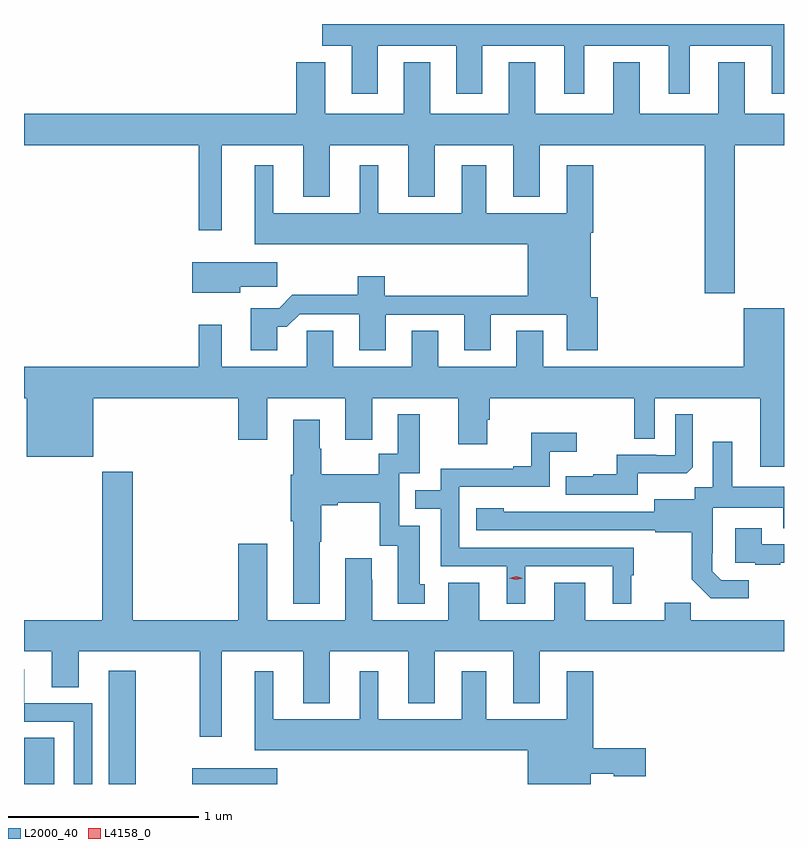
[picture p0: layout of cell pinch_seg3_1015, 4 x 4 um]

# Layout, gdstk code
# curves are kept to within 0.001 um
import gdstk
lib = gdstk.Library(unit=1e-6, precision=1e-09)
def R(c, l, rs):  # rectangles x0, y0, x1, y1
    for r in rs: c.add(gdstk.rectangle(r[:2], r[2:], *l))
def P(c, l, *ps):  # polygons
    for p in ps: c.add(gdstk.Polygon(p, *l))
L2000_40 = (2000, 40)
L4158_0 = (4158, 0)

pinch_seg3_1015 = lib.new_cell('pinch_seg3_1015')
R(pinch_seg3_1015, L2000_40, [(531.425,686.897,531.583,687.14), (531.872,686.897,532.014,687.493), (532.31,686.897,532.759,686.98)])
P(pinch_seg3_1015, L2000_40, [(533.287,690.782),(533.699,690.782),(533.699,690.531),(533.836,690.531),(533.836,690.782),(534.269,690.782),(534.269,690.531),(534.373,690.531),(534.373,690.782),(534.818,690.782),(534.818,690.531),(534.928,690.531),(534.928,690.782),(535.361,690.782),(535.361,690.531),(535.425,690.531),(535.425,690.897),(532.994,690.897),(532.994,690.782),(533.15,690.782),(533.15,690.531),(533.287,690.531)],
  [(535.167,690.26),(535.425,690.26),(535.425,690.424),(535.219,690.424),(535.219,690.697),(535.079,690.697),(535.079,690.424),(534.667,690.424),(534.667,690.697),(534.527,690.697),(534.527,690.424),(534.115,690.424),(534.115,690.697),(533.975,690.697),(533.975,690.424),(533.563,690.424),(533.563,690.697),(533.423,690.697),(533.423,690.424),(533.011,690.424),(533.011,690.697),(532.859,690.697),(532.859,690.424),(531.425,690.424),(531.425,690.26),(532.344,690.26),(532.344,689.811),(532.465,689.811),(532.465,690.26),(532.895,690.26),(532.895,689.987),(533.035,689.987),(533.035,690.26),(533.447,690.26),(533.447,689.987),(533.587,689.987),(533.587,690.26),(533.999,690.26),(533.999,689.987),(534.139,689.987),(534.139,690.26),(535.007,690.26),(535.007,689.481),(535.167,689.481)],
  [(532.759,689.303),(532.808,689.303),(532.875,689.37),(533.189,689.37),(533.189,689.181),(533.329,689.181),(533.329,689.367),(533.741,689.367),(533.741,689.181),(533.881,689.181),(533.881,689.367),(534.281,689.367),(534.281,689.181),(534.446,689.181),(534.446,689.46),(534.409,689.46),(534.409,689.798),(534.422,689.798),(534.422,690.154),(534.281,690.154),(534.281,689.902),(533.857,689.902),(533.857,690.154),(533.729,690.154),(533.729,689.902),(533.29,689.902),(533.29,690.154),(533.192,690.154),(533.192,689.902),(532.738,689.902),(532.738,690.154),(532.64,690.154),(532.64,689.738),(534.077,689.738),(534.077,689.468),(533.324,689.468),(533.324,689.569),(533.182,689.569),(533.182,689.471),(532.838,689.471),(532.768,689.401),(532.619,689.401),(532.619,689.181),(532.759,689.181)],
  [(532.564,689.515),(532.759,689.515),(532.759,689.644),(532.31,689.644),(532.31,689.483),(532.564,689.483)],
  [(535.425,689.401),(535.214,689.401),(535.214,689.092),(534.157,689.092),(534.157,689.282),(534.017,689.282),(534.017,689.092),(533.605,689.092),(533.605,689.282),(533.465,689.282),(533.465,689.092),(533.053,689.092),(533.053,689.282),(532.914,689.282),(532.914,689.092),(532.465,689.092),(532.465,689.314),(532.344,689.314),(532.344,689.092),(531.425,689.092),(531.425,688.928),(531.44,688.928),(531.44,688.619),(531.79,688.619),(531.79,688.928),(532.553,688.928),(532.553,688.71),(532.705,688.71),(532.705,688.928),(533.117,688.928),(533.117,688.71),(533.257,688.71),(533.257,688.928),(533.711,688.928),(533.711,688.686),(533.863,688.686),(533.863,688.815),(533.876,688.815),(533.876,688.928),(534.636,688.928),(534.636,688.714),(534.744,688.714),(534.744,688.928),(535.301,688.928),(535.301,688.566),(535.425,688.566)],
  [(532.981,688.171),(532.989,688.171),(532.989,688.364),(533.077,688.364),(533.077,688.376),(533.297,688.376),(533.297,688.152),(533.393,688.152),(533.393,687.846),(533.533,687.846),(533.533,687.948),(533.509,687.948),(533.509,688.257),(533.4,688.257),(533.4,688.533),(533.509,688.533),(533.509,688.843),(533.393,688.843),(533.393,688.634),(533.292,688.634),(533.292,688.528),(532.989,688.528),(532.989,688.662),(532.981,688.662),(532.981,688.813),(532.841,688.813),(532.841,688.524),(532.829,688.524),(532.829,688.28),(532.841,688.28),(532.841,687.845),(532.981,687.845)],
  [(534.655,688.532),(534.913,688.532),(534.945,688.563),(534.945,688.843),(534.852,688.843),(534.852,688.626),(534.752,688.626),(534.752,688.629),(534.545,688.629),(534.545,688.528),(534.421,688.528),(534.421,688.516),(534.277,688.516),(534.277,688.419),(534.655,688.419)],
  [(534.064,688.044),(534.524,688.044),(534.524,687.845),(534.622,687.845),(534.622,687.996),(534.634,687.996),(534.634,688.14),(533.715,688.14),(533.715,688.461),(534.192,688.461),(534.192,688.646),(534.334,688.646),(534.334,688.745),(534.094,688.745),(534.094,688.57),(533.999,688.57),(533.999,688.557),(533.619,688.557),(533.619,688.443),(533.485,688.443),(533.485,688.347),(533.619,688.347),(533.619,688.044),(533.966,688.044),(533.966,687.845),(534.064,687.845)],
  [(535.24,687.969),(535.095,687.969),(535.048,688.016),(535.048,688.111),(535.05,688.111),(535.05,688.352),(535.421,688.352),(535.421,688.243),(535.425,688.243),(535.425,688.462),(535.153,688.462),(535.153,688.699),(535.049,688.699),(535.049,688.46),(534.954,688.46),(534.954,688.396),(534.743,688.396),(534.743,688.329),(533.949,688.33),(533.949,688.348),(533.805,688.348),(533.805,688.233),(534.747,688.233),(534.747,688.221),(534.939,688.221),(534.939,687.975),(535.039,687.875),(535.24,687.875)],
  [(532.465,687.596),(532.895,687.596),(532.895,687.323),(533.035,687.323),(533.035,687.596),(533.447,687.596),(533.447,687.323),(533.587,687.323),(533.587,687.596),(533.999,687.596),(533.999,687.323),(534.139,687.323),(534.139,687.596),(535.425,687.596),(535.425,687.76),(534.935,687.76),(534.935,687.851),(534.797,687.851),(534.797,687.76),(534.379,687.76),(534.379,687.955),(534.215,687.955),(534.215,687.76),(533.821,687.76),(533.821,687.955),(533.657,687.955),(533.657,687.76),(533.257,687.76),(533.257,687.971),(533.254,687.971),(533.254,688.084),(533.117,688.084),(533.117,687.76),(532.705,687.76),(532.705,688.162),(532.553,688.162),(532.553,687.76),(531.998,687.76),(531.998,688.54),(531.838,688.54),(531.838,687.76),(531.425,687.76),(531.425,687.596),(531.572,687.596),(531.572,687.406),(531.712,687.406),(531.712,687.596),(532.351,687.596),(532.351,687.147),(532.465,687.147)],
  [(535.405,688.061),(535.425,688.061),(535.425,688.158),(535.309,688.158),(535.309,688.243),(535.169,688.243),(535.169,688.062),(535.273,688.062),(535.273,688.05),(535.405,688.05)],
  [(531.783,687.321),(531.427,687.321),(531.427,687.502),(531.425,687.502),(531.425,687.225),(531.687,687.225),(531.687,686.897),(531.783,686.897)],
  [(534.409,686.951),(534.529,686.951),(534.529,686.939),(534.697,686.939),(534.697,687.086),(534.422,687.086),(534.422,687.49),(534.281,687.49),(534.281,687.238),(533.857,687.238),(533.857,687.49),(533.729,687.49),(533.729,687.238),(533.29,687.238),(533.29,687.49),(533.192,687.49),(533.192,687.238),(532.738,687.238),(532.738,687.49),(532.64,687.49),(532.64,687.074),(534.077,687.074),(534.077,686.897),(534.409,686.897)])
P(pinch_seg3_1015, L4158_0, [(534.015,687.971),(533.979,687.981),(533.979,687.981),(533.979,687.981),(534.015,687.991),(534.051,687.981),(534.051,687.981),(534.051,687.981)])

lib.write_gds('pinch_seg3_1015.gds')
